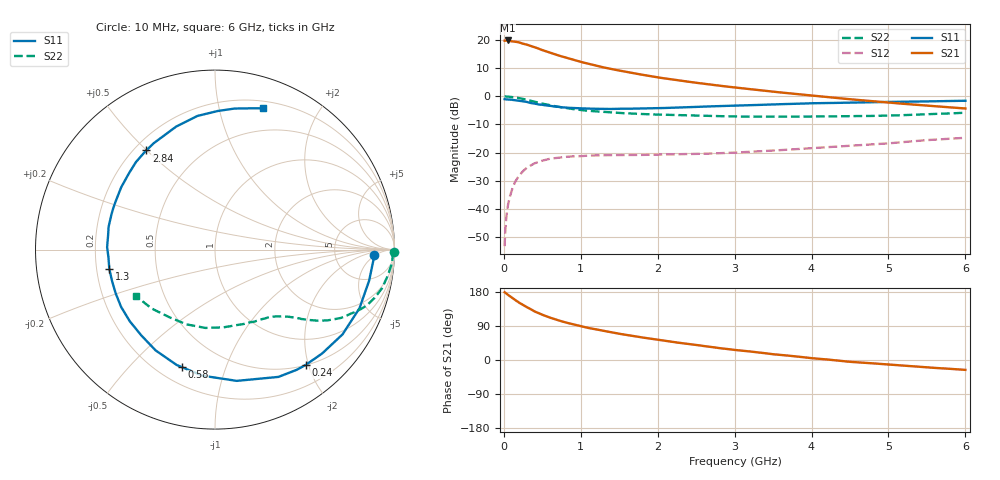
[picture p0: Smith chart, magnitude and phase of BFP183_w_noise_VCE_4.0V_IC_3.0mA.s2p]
! Infineon Technologies  Discrete & RF Semiconductors
! BFP183
! VCE = 4.0 V,  IC =  3.0 mA
! Common Emitter S-Parameters:  Jan 2016
# GHz  S  MA  R  50
!  f  S11  S21  S12  S22
! GHz  MAG  ANG  MAG  ANG  MAG  ANG  MAG  ANG
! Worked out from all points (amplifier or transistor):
!   210 points, 10 MHz to 6 GHz, reference 50 ohm
!   highest |S21| = 19.8 dB at 50 MHz (marker M1)
!   |S21| within 3 dB of that: start of sweep to 459.4 MHz
!   unconditionally stable (mu >= 1): 1.884 GHz to 5.77 GHz
!   at 185 MHz: K = 0.12, MSG = 23.9 dB, |S12| = -28.7 dB
!   at 1.52 GHz: K = 0.83, MSG = 14.9 dB, |S12| = -20.8 dB
!   at 6 GHz: K = 0.94, MSG = 5.2 dB, |S12| = -14.7 dB
!   lowest NFmin = 1.10 dB at 450 MHz
!   S11 on the Smith chart (normalised r, x): 10 MHz: 15, -5; 240 MHz: 0.50, -1.95; 580 MHz: 0.29, -0.71; 1.3 GHz: 0.25, -0.08; 2.84 GHz: 0.25, +0.50; 6 GHz: 0.27, +1.37
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0.01  0.8887 -2.1  9.652 178.7  0.0022 88.4  0.9975 -0.9
0.025  0.8813 -5.7  9.735 176.7  0.0055 87.9  0.9905 -2.2
0.05  0.876 -11.4  9.753 172.5  0.011 84.4  0.9887 -4.5
0.15  0.8532 -33.6  9.293 158.0  0.0309 71.1  0.9543 -13.2
0.2  0.8315 -44.1  8.998 151.2  0.0394 66.6  0.9275 -17.0
0.24  0.8174 -51.9  8.619 146.2  0.0455 62.2  0.9041 -19.8
0.3  0.7925 -63.5  8.219 139.4  0.0542 56.9  0.8636 -23.3
0.4  0.7413 -80.6  7.427 128.1  0.0648 48.8  0.7995 -28.4
0.5  0.7059 -95.7  6.582 119.2  0.0721 42.2  0.7405 -32.2
0.58  0.6803 -105.8  6.074 113.4  0.0769 38.4  0.7029 -34.3
0.7  0.6518 -120.5  5.332 105.1  0.0813 33.8  0.6528 -36.9
0.8  0.6301 -130.7  4.885 99.2  0.0842 30.4  0.6204 -38.6
1.02  0.6104 -150.1  4.003 88.2  0.0872 25.2  0.5658 -41.6
1.1  0.6047 -156.2  3.766 84.5  0.0886 24.0  0.5514 -42.6
1.3  0.5986 -169.7  3.239 76.8  0.0902 21.4  0.5266 -44.9
1.6  0.6002 173.3  2.696 65.9  0.091 19.6  0.4981 -48.5
2.02  0.6159 153.4  2.14 52.8  0.0925 19.4  0.4726 -54.4
2.84  0.6723 124.7  1.516 30.5  0.0983 22.1  0.4433 -69.4
3.1  0.6884 117.3  1.385 24.6  0.1018 23.4  0.4368 -75.0
4.1  0.754 95.7  0.999 3.2  0.1221 25.8  0.4388 -99.8
5.1  0.7962 80.9  0.752 -13.4  0.1504 25.5  0.4582 -126.8
6  0.8323 71.1  0.607 -26.1  0.1836 19.5  0.5104 -149.5
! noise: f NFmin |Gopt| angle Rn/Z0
0.45  1.1  0.37  35  0.3
0.9  1.15  0.34  85  0.23
1.8  1.9  0.35  160  0.13
